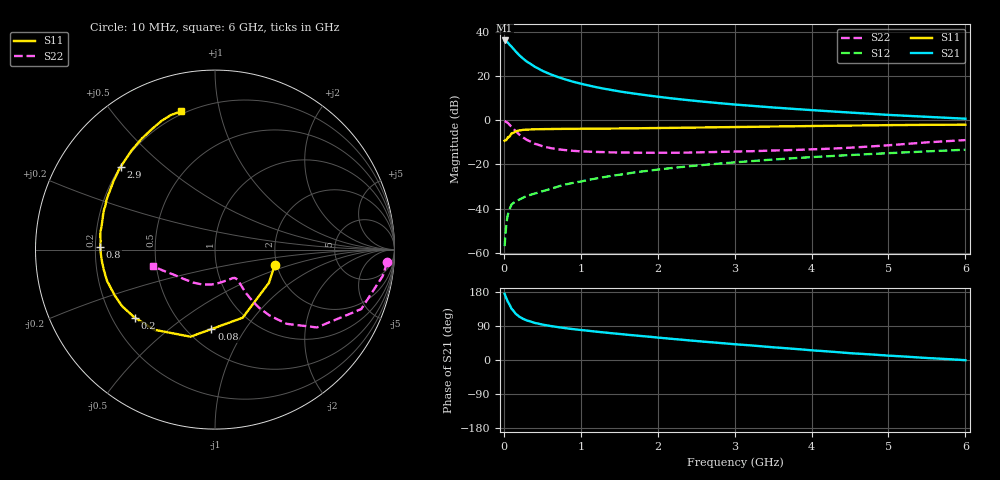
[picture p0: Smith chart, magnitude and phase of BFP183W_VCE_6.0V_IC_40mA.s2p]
! Infineon Technologies  Discrete & RF Semiconductors
! BFP183W
! VCE =  6.0 V,  IC =  40 mA
! Common Emitter S-Parameters:  Jan 2017
# GHz  S  MA  R  50
!  f  S11  S21  S12  S22
! GHz  MAG  ANG  MAG  ANG  MAG  ANG  MAG  ANG
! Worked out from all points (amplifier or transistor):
!   77 points, 10 MHz to 6 GHz, reference 50 ohm
!   highest |S21| = 36.2 dB at 10 MHz (marker M1)
!   |S21| within 3 dB of that: start of sweep to 105.1 MHz
!   unconditionally stable (mu >= 1): 856.5 MHz to 3.329 GHz
!   at 130 MHz: K = 0.35, MSG = 34.8 dB, |S12| = -37.3 dB
!   at 2.2 GHz: K = 1.06, MAG = 14.2 dB, |S12| = -21.6 dB
!   at 6 GHz: K = 0.86, MSG = 7.0 dB, |S12| = -13.4 dB
!   S11 on the Smith chart (normalised r, x): 10 MHz: 1.95, -0.38; 80 MHz: 0.65, -0.72; 200 MHz: 0.29, -0.34; 800 MHz: 0.22, +0.01; 2.9 GHz: 0.20, +0.36; 6 GHz: 0.18, +0.77
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0.01  0.344 -14.4  64.51 174.8  0.0014 89.6  0.9614 -4.2
0.02  0.353 -31.6  63.64 168.9  0.0025 92.1  0.9458 -9.0
0.05  0.4097 -67.9  58.13 154.2  0.007 68.8  0.8797 -22.1
0.08  0.4435 -92.6  50.6 143.8  0.0102 62.3  0.7736 -30.5
0.1  0.5041 -105.7  46.74 135.2  0.0123 59.9  0.7143 -37.4
0.15  0.56 -127.1  37.05 122.9  0.0145 51.8  0.5746 -46.0
0.2  0.5865 -139.8  30 114.5  0.0159 49.9  0.4765 -50.4
0.25  0.6061 -148.7  25.02 108.6  0.0176 50.4  0.408 -52.8
0.3  0.6139 -155.1  21.3 104.3  0.0193 49.5  0.3582 -53.9
0.4  0.6262 -163.8  16.43 97.9  0.0218 53.7  0.2955 -54.5
0.5  0.6298 -169.7  13.28 93.5  0.0245 55.0  0.2592 -54.1
0.6  0.6333 -174.1  11.16 89.9  0.0276 57.6  0.2356 -53.7
0.7  0.6366 -178.0  9.594 86.9  0.0313 59.5  0.2204 -53.1
0.8  0.6394 178.6  8.429 84.0  0.035 61.7  0.2107 -53.3
1.1  0.6458 171.1  6.156 77.1  0.0446 63.9  0.1947 -54.7
1.5  0.6533 162.6  4.528 68.8  0.0581 64.9  0.1862 -59.6
2.1  0.6703 151.3  3.266 57.4  0.0797 63.5  0.1835 -72.1
2.9  0.6992 138.6  2.36 43.4  0.1077 59.7  0.1936 -93.6
3.1  0.7056 135.6  2.209 40.2  0.1146 58.5  0.1969 -99.1
4.1  0.7442 122.1  1.658 24.2  0.1494 52.3  0.2224 -126.0
5.1  0.7785 111.7  1.299 10.4  0.183 45.7  0.2798 -151.5
6  0.7935 103.8  1.085 -0.5  0.2148 39.5  0.3558 -164.8
